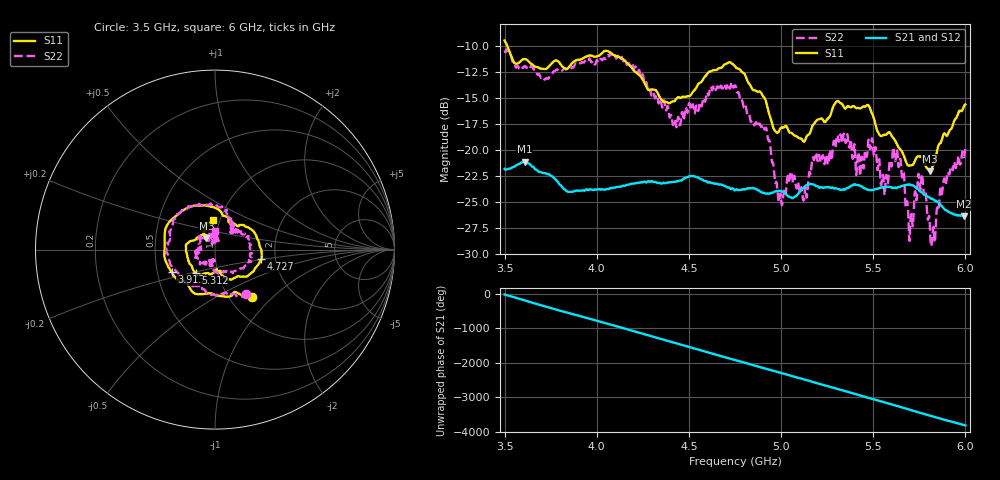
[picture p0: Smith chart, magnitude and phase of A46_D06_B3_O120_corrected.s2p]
! Created with skrf 1.9.0 (http://scikit-rf.org).
# Hz S RI R 50.0
!freq ReS11 ImS11 ReS21 ImS21 ReS12 ImS12 ReS22 ImS22
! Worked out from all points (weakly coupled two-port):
!   1601 points, 3.5 GHz to 6 GHz, reference 50 ohm
!   highest |S21| = -21.15 dB at 3.609 GHz (marker M1); lowest = -26.4 dB at 5.994 GHz (marker M2)
!   lowest |S11| = -22.1 dB at 5.808 GHz (marker M3), VSWR 1.17, Z = 45.1 + j5.66 ohm
!   |S11| at or under -10 dB: 3.515 GHz to end of sweep
!   |S22| runs from -29.3 to -10.3 dB; largest |S21 - S12| = 0.00091
!   S11 on the Smith chart (normalised r, x): 3.5 GHz: 1.26, -0.76; 3.913 GHz: 0.59, -0.16; 4.727 GHz: 1.68, -0.20; 5.312 GHz: 0.78, -0.21; 6 GHz: 0.93, +0.31
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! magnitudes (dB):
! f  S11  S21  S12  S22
! 3.5 GHz  -9.5  -21.9  -21.8  -10.4
! 3.609 GHz  -11.3  -21.2  -21.2  -11.9
! 3.913 GHz  -11.3  -23.9  -23.9  -11.7
! 3.917 GHz  -11.3  -23.9  -23.9  -11.6
! 4.127 GHz  -11.1  -23.5  -23.5  -11.3
! 4.334 GHz  -14.7  -23.2  -23.1  -15.5
! 4.423 GHz  -15.3  -23.1  -23.1  -17.1
! 4.727 GHz  -11.6  -23.8  -23.7  -13.9
! 4.75 GHz  -12.0  -23.9  -23.8  -13.8
! 4.914 GHz  -15.1  -24.2  -24.2  -18.0
! 4.995 GHz  -18.0  -24.0  -23.9  -24.2
! 5.047 GHz  -18.3  -24.5  -24.5  -22.8
! 5.13 GHz  -19.1  -23.5  -23.5  -23.9
! 5.167 GHz  -17.8  -23.3  -23.3  -21.2
! 5.312 GHz  -15.3  -23.8  -23.7  -19.2
! 5.584 GHz  -18.3  -23.6  -23.5  -22.2
! 5.638 GHz  -19.8  -23.6  -23.5  -21.7
! 5.705 GHz  -21.5  -23.4  -23.4  -26.3
! 5.756 GHz  -20.7  -24.0  -24.0  -23.8
! 5.808 GHz  -22.1  -24.7  -24.6  -27.6
! 5.994 GHz  -15.7  -26.4  -26.3  -20.7
! 6 GHz  -15.6  -26.4  -26.3  -19.9
